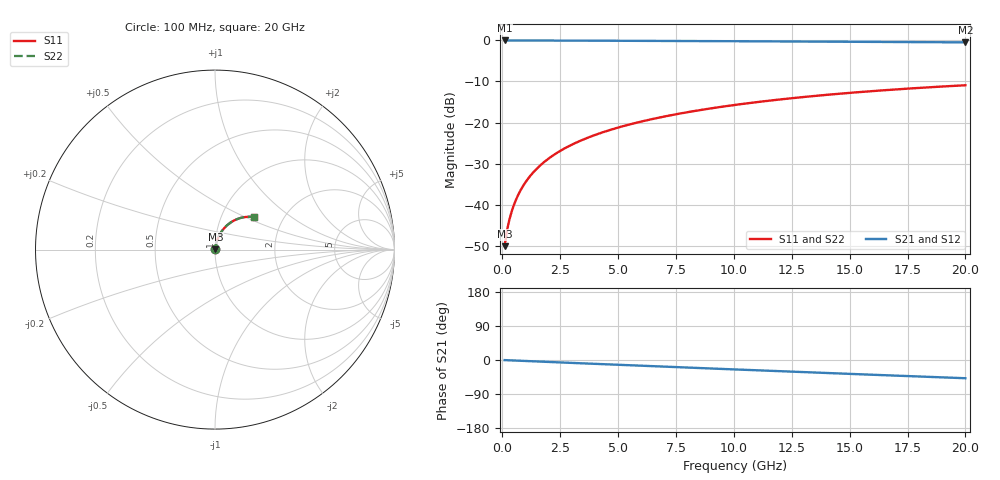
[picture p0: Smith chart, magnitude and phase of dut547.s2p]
! Touchstone file exported from HFSS 2026.1.0
!  File:  C:/ffzhzh/LocalFiles/Ansys_Project_Files/temp_train_TMRDL_547_1783007588_46388.aedt
!  Generated:  11:54:37 PM Jul  2, 2026
!  Design:  TMRDL
!  Project:  temp_train_TMRDL_547_1783007588_46388
! Variables:
!  h_bsmrdl = 2um
!  h_ox = 20um
!  h_rdl = 5um
!  h_sub = 80um
!  h_tmrdl = 5.46um
!  h_tsv = 80um
!  h_via = 3um
!  l_bsmrdl = 300um
!  l_sub = 1199.21um
!  l_tmrdl = 799.21um
!  m_sub = 200um
!  pitch = 42.56um
!  r_tsv = 6um
!  s_tmrdl = 10um
!  w_bsmrdl = 18um
!  w_sub = 500um
!  w_tmrdl = 25.63um
!  x_tsv_center1 = 812.025um
!  x_tsv_center2 = 1130.025um
!  x_tsv_center3 = 1954.865um
!  x_tsv_center4 = 2272.865um
!  x_tsv_center5 = 3097.705um
!  x_tsv_center6 = 3415.705um
# GHz S MA R 50.000000
! Terminal data exported
! Port[1] = TM_RDL1_1_T1
! Port[2] = TM_RDL1_1_T2
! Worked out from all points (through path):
!   200 points, 100 MHz to 20 GHz, reference 50 ohm
!   highest |S21| = -0.02 dB at 100 MHz (marker M1); lowest = -0.5 dB at 20 GHz (marker M2)
!   group delay of S21, straight-line fit = 6.67 ps
!   lowest |S11| = -50.1 dB at 100 MHz (marker M3), VSWR 1.01, Z = 50.2 + j0.214 ohm
!   |S11| at or under -10 dB: start of sweep to end of sweep
!   |S22| runs from -50.1 to -10.9 dB; largest |S21 - S12| = 1.4e-14
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0.1  0.003123 43.1  0.9977 -0.3  0.9977 -0.3  0.003123 43.1
! Gamma 0 0 0 0
! Port Impedance 50 0 50 0
0.2  0.004786 57.8  0.9975 -0.5  0.9975 -0.5  0.004786 57.8
0.3  0.006471 64.7  0.9973 -0.8  0.9973 -0.8  0.006471 64.7
0.4  0.008167 68.9  0.9972 -1.1  0.9972 -1.1  0.008167 68.9
0.5  0.009885 71.7  0.9971 -1.3  0.9971 -1.3  0.009885 71.7
0.6  0.01162 73.7  0.997 -1.6  0.997 -1.6  0.01162 73.7
0.8  0.01515 76.2  0.9968 -2.1  0.9968 -2.1  0.01515 76.2
1.1  0.02048 77.9  0.9966 -2.8  0.9966 -2.8  0.02048 77.9
1.3  0.02404 78.5  0.9963 -3.4  0.9963 -3.4  0.02404 78.5
1.6  0.02937 78.7  0.9959 -4.1  0.9959 -4.1  0.02937 78.7
2.1  0.03817 78.4  0.9952 -5.4  0.9952 -5.4  0.03817 78.4
2.7  0.04856 77.5  0.9941 -6.9  0.9941 -6.9  0.04856 77.5
3.5  0.06213 76.0  0.9925 -8.9  0.9925 -8.9  0.06213 76.0
4.2  0.07375 74.5  0.9911 -10.7  0.9911 -10.7  0.07375 74.5
5  0.08677 72.8  0.9893 -12.6  0.9893 -12.6  0.08677 72.8
5.9  0.1011 70.8  0.9873 -14.8  0.9873 -14.8  0.1011 70.9
6.8  0.1152 68.9  0.9851 -17.0  0.9851 -17.0  0.1152 68.9
8.3  0.1381 65.5  0.9813 -20.7  0.9813 -20.7  0.1381 65.6
10.1  0.1645 61.5  0.9765 -25.0  0.9765 -25.0  0.1645 61.5
13.4  0.2095 54.1  0.9667 -32.9  0.9667 -32.9  0.2095 54.1
16.7  0.2496 46.7  0.9563 -40.6  0.9563 -40.6  0.2496 46.8
20  0.2843 39.5  0.946 -48.1  0.946 -48.1  0.2843 39.5
